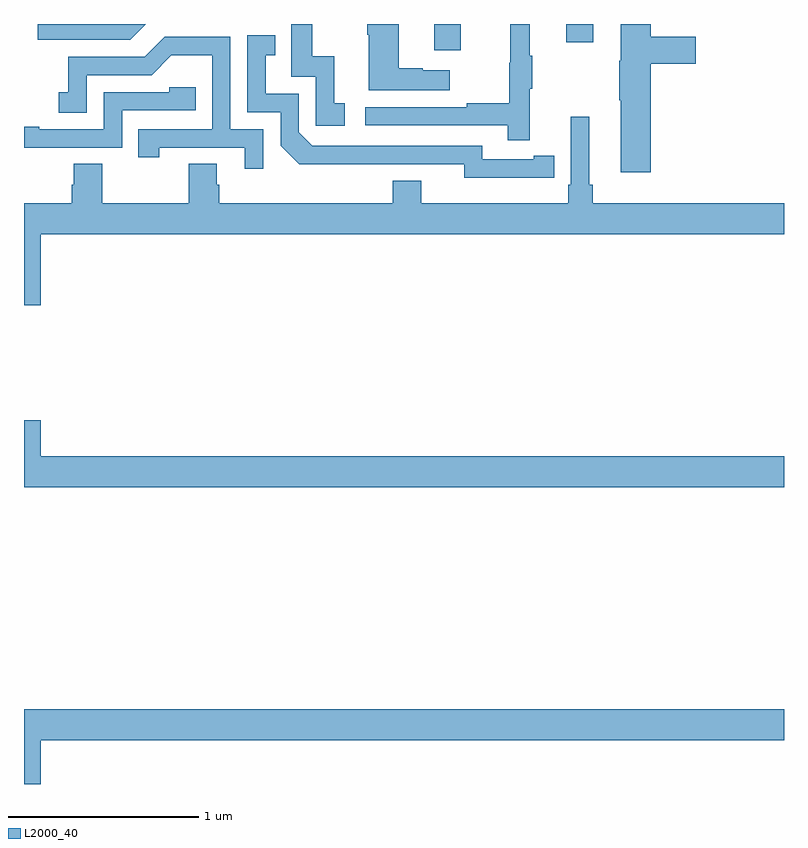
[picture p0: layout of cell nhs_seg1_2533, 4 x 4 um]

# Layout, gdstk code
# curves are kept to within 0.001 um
import gdstk
lib = gdstk.Library(unit=1e-6, precision=1e-09)
def R(c, l, rs):  # rectangles x0, y0, x1, y1
    for r in rs: c.add(gdstk.rectangle(r[:2], r[2:], *l))
def P(c, l, *ps):  # polygons
    for p in ps: c.add(gdstk.Polygon(p, *l))
L2000_40 = (2000, 40)

nhs_seg1_2533 = lib.new_cell('nhs_seg1_2533')
R(nhs_seg1_2533, L2000_40, [(251.159,526.062,251.299,526.199), (251.855,526.104,251.995,526.199)])
P(nhs_seg1_2533, L2000_40, [(251.663,525.859),(251.674,525.859),(251.674,526.033),(251.663,526.033),(251.663,526.199),(251.56,526.199),(251.56,525.996),(251.553,525.996),(251.553,525.782),(251.329,525.782),(251.329,525.762),(250.797,525.762),(250.797,525.666),(251.545,525.666),(251.545,525.588),(251.663,525.588)],
  [(251.242,525.955),(251.099,525.955),(251.099,525.965),(250.972,525.965),(250.972,526.199),(250.807,526.199),(250.807,526.142),(250.814,526.142),(250.814,525.851),(251.242,525.851)],
  [(252.299,525.989),(252.535,525.989),(252.535,526.131),(252.299,526.131),(252.299,526.199),(252.14,526.199),(252.14,526.005),(252.133,526.005),(252.133,525.799),(252.14,525.799),(252.14,525.42),(252.299,525.42)],
  [(250.687,525.783),(250.634,525.783),(250.634,526.03),(250.516,526.03),(250.516,526.199),(250.407,526.199),(250.407,525.921),(250.536,525.921),(250.536,525.663),(250.687,525.663)],
  [(249.641,526.199),(249.072,526.199),(249.072,526.116),(249.558,526.116)],
  [(251.684,525.39),(251.792,525.39),(251.792,525.506),(251.684,525.506),(251.684,525.486),(251.412,525.486),(251.412,525.558),(250.518,525.558),(250.446,525.63),(250.446,525.831),(250.273,525.831),(250.273,526.035),(250.322,526.035),(250.322,526.141),(250.176,526.141),(250.176,525.735),(250.35,525.735),(250.35,525.558),(250.448,525.461),(251.316,525.462),(251.316,525.389)],
  [(250.26,525.645),(250.086,525.645),(250.086,526.131),(249.74,526.131),(249.635,526.026),(249.232,526.026),(249.232,525.841),(249.183,525.841),(249.183,525.732),(249.33,525.732),(249.33,525.93),(249.672,525.93),(249.776,526.034),(249.99,526.034),(249.99,525.645),(249.601,525.645),(249.601,525.498),(249.712,525.498),(249.712,525.549),(250.163,525.549),(250.163,525.438),(250.26,525.438)],
  [(249.516,525.744),(249.905,525.744),(249.905,525.867),(249.765,525.867),(249.765,525.84),(249.42,525.84),(249.42,525.645),(249.079,525.645),(249.079,525.658),(249,525.658),(249,525.549),(249.516,525.549)],
  [(249.088,525.092),(253,525.092),(253,525.256),(251.993,525.256),(251.993,525.352),(251.974,525.352),(251.974,525.712),(251.877,525.712),(251.877,525.352),(251.864,525.352),(251.864,525.256),(251.092,525.256),(251.092,525.373),(250.94,525.373),(250.94,525.256),(250.028,525.256),(250.028,525.354),(250.015,525.354),(250.015,525.464),(249.868,525.464),(249.868,525.256),(249.411,525.256),(249.411,525.464),(249.263,525.464),(249.263,525.354),(249.251,525.354),(249.251,525.256),(249,525.256),(249,524.718),(249.088,524.718)],
  [(253,523.924),(249.088,523.924),(249.088,524.113),(249,524.113),(249,523.76),(253,523.76)],
  [(249.088,522.428),(253,522.428),(253,522.592),(249,522.592),(249,522.199),(249.088,522.199)])

lib.write_gds('nhs_seg1_2533.gds')
